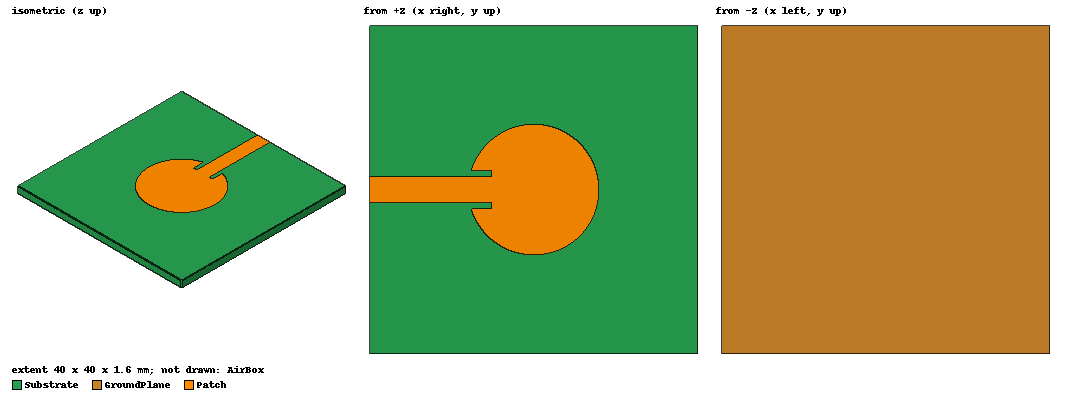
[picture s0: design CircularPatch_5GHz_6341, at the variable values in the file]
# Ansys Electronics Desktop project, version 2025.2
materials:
  vacuum: permittivity=1
  FR4_epoxy: permittivity=4.4 dielectric_loss_tangent=0.02

design CircularPatch_5GHz_6341 (HFSS, HFSS Hybrid Modal Network, model units mm)
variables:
  f0 = 5GHz
  lambda0 = 59.9585mm
  sub_h = 1.6mm
  sub_L = 40mm
  sub_W = 40mm
  a_patch = 7.9659mm
  W_feed = 3.06mm
  y0_inset = 2.7881mm
  g_inset = 0.8mm
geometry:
  GroundPlane = rectangle(corner=(-20mm, -20mm, 0mm), x_size=40mm, y_size=40mm)
  Substrate [FR4_epoxy] = box(corner=(-20mm, -20mm, 0mm), size=(40mm, 40mm, 1.6mm))
  Patch = circle(normal=Z, centre=(0mm, 0mm, 1.6mm), radius=7.9659mm)
  Inset_Cutout = rectangle(corner=(-8.9659mm, -2.33mm, 1.6mm), x_size=3.7881mm, y_size=4.66mm)
  Patch.subtract(Inset_Cutout)
  Feedline = rectangle(corner=(-20mm, -1.53mm, 1.6mm), x_size=15.3222mm, y_size=3.06mm)
  Patch.unite(Feedline)
  Port_Sheet_1 = rectangle(corner=(-20mm, -1.53mm, 0mm), y_size=3.06mm, z_size=1.6mm)
  AirBox [vacuum] = box(corner=(-49.9792mm, -49.9792mm, -29.9792mm), size=(99.9585mm, 99.9585mm, 61.5585mm))
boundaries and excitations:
  PerfE_Ground: Perfect E Objects=GroundPlane
  PerfE_Patch: Perfect E Objects=Patch
  Rad_AirBox: Radiation Objects=AirBox
  Port1: Lumped Port Objects=Port_Sheet_1 LumpedPortType=Modal Modes{Mode1{IntLine{(-20, 0, 0) -> (-20, 0, 1.6)} CharImp=Zpi RenormImp=50ohm}} Impedance=50ohm
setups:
  Setup_5GHz: HfssDriven Frequency=5GHz MaxDeltaS=0.02 MaximumPasses=15 MinimumPasses=2 MinimumConvergedPasses=2 PercentRefinement=30 BasisOrder=1 PortAccuracy=2 DrivenSolverType="Direct Solver"
    sweep Sweep_4p0_to_6p0GHz: 4GHz to 6GHz, 101 points; Type=Interpolating InterpTolerance=0.5 InterpMaxSolns=250 InterpUsePortImped=false PassivityErrorTolerance=0.0001
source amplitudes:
  Port1:1: 1W 0deg
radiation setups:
  Infinite_Sphere_3D: Infinite Sphere Theta=-180deg..180deg step 2deg Phi=-180deg..180deg step 2deg
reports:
  Return_Loss_S11_dB: dB(S(Port1,Port1)) vs Freq on Setup_5GHz : Sweep_4p0_to_6p0GHz
  Patch_E_Plane_XZ: dB(GainTotal), dB(DirTotal) vs Theta on Setup_5GHz : LastAdaptive, Infinite_Sphere_3D [Phi=0deg Freq=5GHz]
  Patch_H_Plane_YZ: dB(GainTotal), dB(DirTotal) vs Theta on Setup_5GHz : LastAdaptive, Infinite_Sphere_3D [Phi=90deg Freq=5GHz]
  3D_Patch_Gain_Pattern: dB(GainTotal) vs Phi, Theta on Setup_5GHz : LastAdaptive, Infinite_Sphere_3D [Freq=5GHz]
